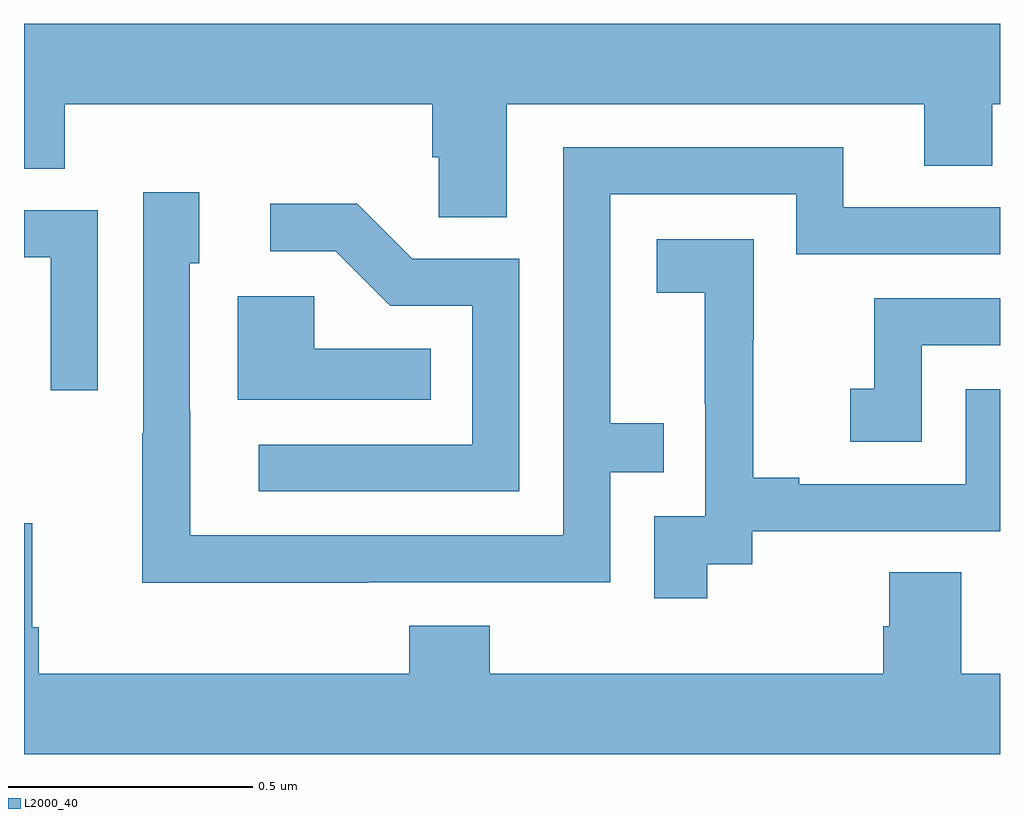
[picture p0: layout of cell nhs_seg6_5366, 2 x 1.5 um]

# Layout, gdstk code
import gdstk
lib = gdstk.Library(unit=1e-6, precision=1e-09)
def P(c, l, *ps):  # polygons
    for p in ps: c.add(gdstk.Polygon(p, *l))
L2000_40 = (2000, 40)

nhs_seg6_5366 = lib.new_cell('nhs_seg6_5366')
P(nhs_seg6_5366, L2000_40, [(182.989,918.032),(183.845,918.032),(183.845,917.905),(183.984,917.905),(183.984,918.032),(184,918.032),(184,918.196),(182,918.196),(182,917.899),(182.084,917.899),(182.084,918.032),(182.837,918.032),(182.837,917.923),(182.85,917.923),(182.85,917.8),(182.989,917.8)],
  [(182.705,917.052),(183.201,917.052),(183.201,917.277),(183.311,917.277),(183.311,917.378),(183.201,917.378),(183.201,917.847),(183.582,917.847),(183.582,917.724),(184,917.724),(184,917.82),(183.679,917.82),(183.679,917.943),(183.105,917.943),(183.105,917.148),(182.341,917.148),(182.341,917.402),(182.34,917.402),(182.34,917.706),(182.359,917.706),(182.359,917.851),(182.244,917.851),(182.244,917.357),(182.242,917.357),(182.242,917.051),(182.705,917.051)],
  [(183.015,917.715),(182.796,917.715),(182.683,917.828),(182.505,917.828),(182.505,917.73),(182.639,917.73),(182.75,917.619),(182.919,917.619),(182.919,917.334),(182.481,917.334),(182.481,917.238),(183.015,917.238)],
  [(182.151,917.814),(182,917.814),(182,917.718),(182.055,917.718),(182.055,917.445),(182.151,917.445)],
  [(183.4,917.089),(183.492,917.089),(183.492,917.157),(184,917.157),(184,917.448),(183.93,917.448),(183.93,917.253),(183.589,917.253),(183.589,917.266),(183.494,917.266),(183.494,917.549),(183.495,917.549),(183.495,917.755),(183.297,917.755),(183.297,917.645),(183.395,917.645),(183.395,917.417),(183.396,917.417),(183.396,917.187),(183.291,917.187),(183.291,917.019),(183.4,917.019)],
  [(182.834,917.53),(182.595,917.53),(182.595,917.638),(182.438,917.638),(182.438,917.426),(182.834,917.426)],
  [(183.84,917.538),(184,917.538),(184,917.634),(183.742,917.634),(183.742,917.449),(183.693,917.449),(183.693,917.34),(183.84,917.34)],
  [(184,916.864),(183.921,916.864),(183.921,917.072),(183.773,917.072),(183.773,916.962),(183.761,916.962),(183.761,916.864),(182.954,916.864),(182.954,916.963),(182.789,916.963),(182.789,916.864),(182.03,916.864),(182.03,916.96),(182.017,916.96),(182.017,917.173),(182,917.173),(182,916.7),(184,916.7)])

lib.write_gds('nhs_seg6_5366.gds')
